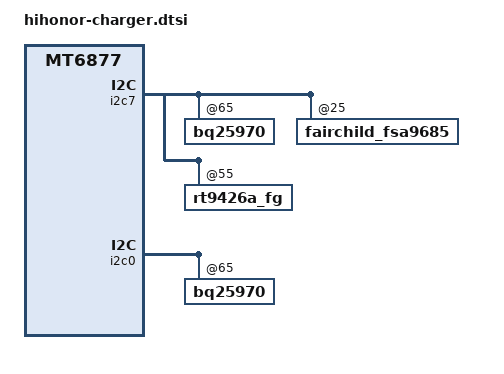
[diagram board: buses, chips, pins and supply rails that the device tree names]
#include "../hihonor_charger/mt6877_ntx_honor_charger.dtsi"

&i2c7 {
	bq25970@65 {
		status = "ok";
	};
	fairchild_fsa9685@25 {
		status = "ok";
	};
	rt9426a_fg@55 {
		status = "ok";
	};
};

&i2c0 {
	bq25970@65 {
		status = "ok";
	};
};

&huawei_battery {
	use_third_coul = <1>;
};


&bat_gm30 {
	status = "disabled";
};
